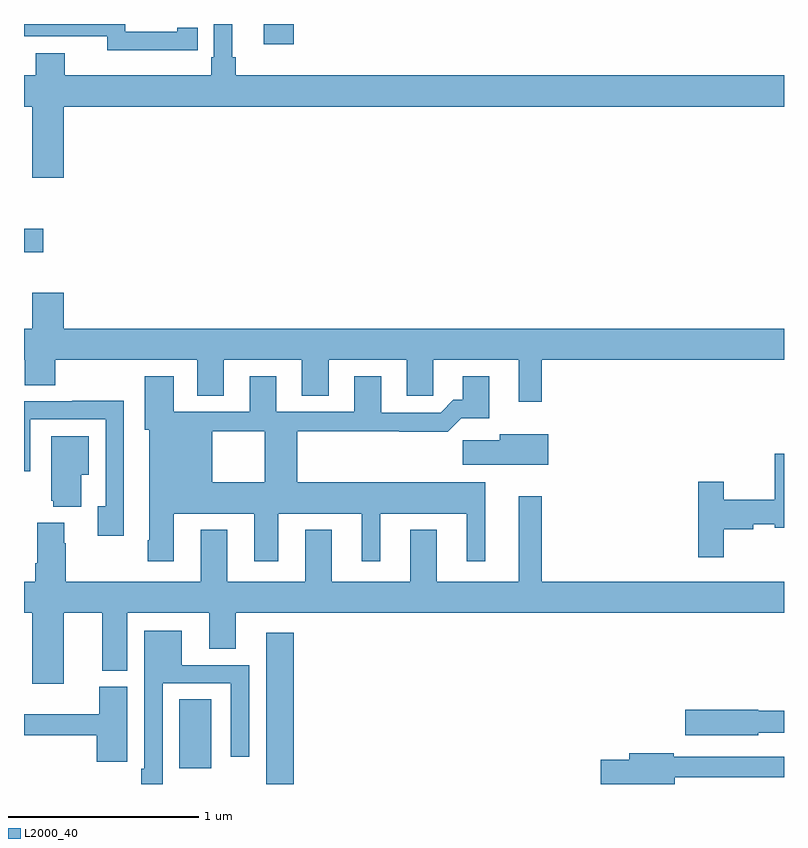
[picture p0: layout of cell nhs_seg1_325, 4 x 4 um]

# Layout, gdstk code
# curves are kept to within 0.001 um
import gdstk
lib = gdstk.Library(unit=1e-6, precision=1e-09)
def R(c, l, rs):  # rectangles x0, y0, x1, y1
    for r in rs: c.add(gdstk.rectangle(r[:2], r[2:], *l))
def P(c, l, *ps):  # polygons
    for p in ps: c.add(gdstk.Polygon(p, *l))
L2000_40 = (2000, 40)

nhs_seg1_325 = lib.new_cell('nhs_seg1_325')
R(nhs_seg1_325, L2000_40, [(130.274,516.199,130.421,516.996), (129.818,516.282,129.985,516.644), (129,518.999,129.102,519.121), (130.262,520.092,130.421,520.199)])
P(nhs_seg1_325, L2000_40, [(129.806,520.062),(129.914,520.062),(129.914,520.178),(129.806,520.178),(129.806,520.158),(129.534,520.158),(129.534,520.199),(129,520.199),(129,520.134),(129.438,520.134),(129.438,520.061),(129.806,520.061)],
  [(129.208,519.764),(133,519.764),(133,519.928),(130.115,519.928),(130.115,520.024),(130.096,520.024),(130.096,520.199),(129.999,520.199),(129.999,520.024),(129.986,520.024),(129.986,519.928),(129.214,519.928),(129.214,520.045),(129.062,520.045),(129.062,519.928),(129,519.928),(129,519.764),(129.044,519.764),(129.044,519.39),(129.208,519.39)],
  [(131.725,518.432),(133,518.432),(133,518.596),(129.208,518.596),(129.208,518.785),(129.044,518.785),(129.044,518.596),(129,518.596),(129,518.432),(129.005,518.432),(129.005,518.299),(129.165,518.299),(129.165,518.432),(129.911,518.432),(129.911,518.242),(130.051,518.242),(130.051,518.432),(130.463,518.432),(130.463,518.242),(130.603,518.242),(130.603,518.432),(131.015,518.432),(131.015,518.242),(131.154,518.242),(131.154,518.432),(131.603,518.432),(131.603,518.211),(131.725,518.211)],
  [(129.652,517.483),(129.652,517.371),(129.787,517.371),(129.787,517.622),(130.211,517.622),(130.211,517.371),(130.339,517.371),(130.339,517.622),(130.778,517.622),(130.778,517.371),(130.876,517.371),(130.876,517.622),(131.33,517.622),(131.33,517.371),(131.428,517.371),(131.428,517.786),(130.439,517.786),(130.439,518.056),(130.975,518.056),(130.975,518.054),(131.231,518.054),(131.3,518.123),(131.449,518.123),(131.449,518.344),(131.309,518.344),(131.309,518.221),(131.26,518.221),(131.193,518.154),(130.879,518.154),(130.879,518.344),(130.739,518.344),(130.739,518.157),(130.327,518.157),(130.327,518.344),(130.187,518.344),(130.187,518.157),(129.787,518.157),(129.787,518.344),(129.635,518.344),(129.635,518.064),(129.659,518.064),(129.659,517.786),(129.991,517.786),(129.991,518.056),(130.268,518.056),(130.268,517.786),(129.659,517.786),(129.659,517.483)],
  [(129.526,517.964),(129.525,517.964),(129.525,518.216),(129.253,518.216),(129.253,518.214),(129,518.214),(129,517.845),(129.033,517.845),(129.033,518.118),(129.429,518.118),(129.429,517.662),(129.389,517.662),(129.389,517.506),(129.526,517.506)],
  [(131.758,518.041),(131.504,518.041),(131.504,518.009),(131.31,518.009),(131.31,517.88),(131.758,517.88)],
  [(129.301,517.826),(129.34,517.826),(129.34,518.029),(129.143,518.029),(129.143,517.689),(129.155,517.689),(129.155,517.658),(129.301,517.658)],
  [(132.682,517.541),(132.838,517.541),(132.838,517.566),(132.95,517.566),(132.95,517.547),(133,517.547),(133,517.936),(132.95,517.936),(132.95,517.694),(132.682,517.694),(132.682,517.789),(132.548,517.789),(132.548,517.392),(132.682,517.392)],
  [(133,517.264),(131.725,517.264),(131.725,517.714),(131.603,517.714),(131.603,517.264),(131.173,517.264),(131.173,517.537),(131.033,517.537),(131.033,517.264),(130.621,517.264),(130.621,517.537),(130.481,517.537),(130.481,517.264),(130.069,517.264),(130.069,517.537),(129.929,517.537),(129.929,517.264),(129.219,517.264),(129.219,517.466),(129.211,517.466),(129.211,517.573),(129.071,517.573),(129.071,517.36),(129.059,517.36),(129.059,517.264),(129,517.264),(129,517.1),(129.044,517.1),(129.044,516.726),(129.208,516.726),(129.208,517.1),(129.413,517.1),(129.413,516.796),(129.544,516.796),(129.544,517.1),(129.974,517.1),(129.974,516.91),(130.114,516.91),(130.114,517.1),(133,517.1)],
  [(129.729,516.729),(130.089,516.729),(130.089,516.342),(130.185,516.342),(130.185,516.825),(129.829,516.825),(129.829,517.006),(129.633,517.006),(129.633,516.28),(129.617,516.28),(129.617,516.199),(129.729,516.199)],
  [(129.543,516.427),(129.544,516.427),(129.544,516.711),(129.395,516.711),(129.395,516.565),(129,516.565),(129,516.456),(129.383,516.456),(129.383,516.315),(129.543,516.315)],
  [(132.864,516.468),(133,516.468),(133,516.584),(132.864,516.584),(132.864,516.59),(132.48,516.59),(132.48,516.455),(132.864,516.455)],
  [(132.424,516.234),(133,516.234),(133,516.342),(132.42,516.342),(132.42,516.362),(132.185,516.362),(132.185,516.326),(132.036,516.326),(132.036,516.199),(132.424,516.199)])

lib.write_gds('nhs_seg1_325.gds')
